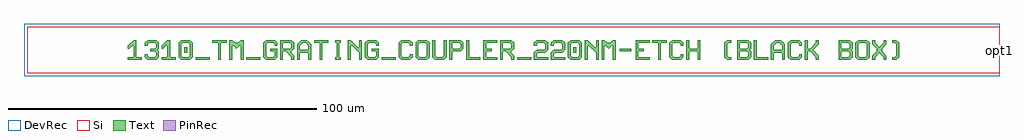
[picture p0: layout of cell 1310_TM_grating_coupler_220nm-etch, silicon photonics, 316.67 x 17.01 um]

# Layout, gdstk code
import gdstk
lib = gdstk.Library(unit=1e-6, precision=1e-09)
def R(c, l, rs):  # rectangles x0, y0, x1, y1
    for r in rs: c.add(gdstk.rectangle(r[:2], r[2:], *l))
def A(c, l, x, y, w, h, nx, ny, dx, dy):  # array of equal rectangles
    R(c, l, [(x+i*dx, y+j*dy, x+i*dx+w, y+j*dy+h) for i in range(nx) for j in range(ny)])
def P(c, l, *ps):  # polygons
    for p in ps: c.add(gdstk.Polygon(p, *l))
Si = (1, 0)
PinRec = (1, 10)
Text = (10, 0)
DevRec = (68, 0)

text = lib.new_cell('TEXT')
A(text, Text, 38.43, 0, 4.575, 0.915, 3, 1, 43.92, 0)
R(text, Text, [(21.96,0,26.535,0.915), (18.3,2.287,19.215,4.117), (144.57,2.287,145.485,4.117), (159.667,2.745,163.327,3.66)])
P(text, Text, [(0,0),(0,0.915),(1.83,0.915),(1.83,4.575),(1.372,4.575),(0.457,3.66),(0,3.66),(0,4.575),(1.83,6.405),(2.745,6.405),(2.745,0.915),(4.575,0.915),(4.575,0)],
  [(6.405,0),(5.49,0.915),(5.49,1.83),(6.405,1.83),(6.405,1.372),(6.862,0.915),(8.692,0.915),(9.15,1.372),(9.15,2.287),(8.692,2.745),(7.32,2.745),(7.32,3.66),(8.692,3.66),(9.15,4.117),(9.15,5.032),(8.692,5.49),(6.862,5.49),(6.405,5.032),(6.405,4.575),(5.49,4.575),(5.49,5.49),(6.405,6.405),(9.15,6.405),(10.065,5.49),(10.065,3.66),(9.607,3.202),(10.065,2.745),(10.065,0.915),(9.15,0)],
  [(10.98,0),(10.98,0.915),(12.81,0.915),(12.81,4.575),(12.352,4.575),(11.437,3.66),(10.98,3.66),(10.98,4.575),(12.81,6.405),(13.725,6.405),(13.725,0.915),(15.555,0.915),(15.555,0)],
  [(17.385,0),(16.47,0.915),(16.47,5.49),(17.385,6.405),(20.13,6.405),(21.045,5.49),(17.842,5.49),(17.385,5.032),(17.385,1.372),(17.842,0.915),(19.672,0.915),(20.13,1.372),(20.13,5.032),(19.672,5.49),(21.045,5.49),(21.045,0.915),(20.13,0)],
  [(29.28,0),(29.28,5.49),(27.45,5.49),(27.45,6.405),(32.025,6.405),(32.025,5.49),(30.195,5.49),(30.195,0)],
  [(32.94,0),(32.94,6.405),(33.855,6.405),(34.77,5.49),(35.685,5.49),(36.6,6.405),(37.515,6.405),(37.515,0),(36.6,0),(36.6,4.575),(36.142,4.575),(35.227,3.66),(34.312,4.575),(33.855,4.575),(33.855,0)],
  [(44.835,0),(43.92,0.915),(43.92,5.49),(44.835,6.405),(47.58,6.405),(48.495,5.49),(48.495,4.575),(47.58,4.575),(47.58,5.032),(47.122,5.49),(45.292,5.49),(44.835,5.032),(44.835,1.372),(45.292,0.915),(47.122,0.915),(47.58,1.372),(47.58,2.745),(46.207,2.745),(46.207,3.66),(48.495,3.66),(48.495,0.915),(47.58,0)],
  [(49.41,0),(49.41,6.405),(53.07,6.405),(53.985,5.49),(50.325,5.49),(50.325,3.66),(52.612,3.66),(53.07,4.117),(53.07,5.032),(52.612,5.49),(53.985,5.49),(53.985,3.66),(53.07,2.745),(53.07,2.287),(53.985,1.372),(53.985,0),(53.07,0),(53.07,0.915),(51.24,2.745),(50.325,2.745),(50.325,0)],
  [(54.9,0),(54.9,5.032),(56.272,6.405),(58.102,6.405),(59.017,5.49),(56.73,5.49),(55.815,4.575),(55.815,3.202),(58.56,3.202),(58.56,4.575),(57.645,5.49),(59.017,5.49),(59.475,5.032),(59.475,0),(58.56,0),(58.56,2.287),(55.815,2.287),(55.815,0)],
  [(62.22,0),(62.22,5.49),(60.39,5.49),(60.39,6.405),(64.965,6.405),(64.965,5.49),(63.135,5.49),(63.135,0)],
  [(67.252,0),(67.252,0.915),(67.71,0.915),(67.71,5.49),(67.252,5.49),(67.252,6.405),(69.082,6.405),(69.082,5.49),(68.625,5.49),(68.625,0.915),(69.082,0.915),(69.082,0)],
  [(71.37,0),(71.37,6.405),(72.285,6.405),(74.572,4.117),(75.03,4.117),(75.03,6.405),(75.945,6.405),(75.945,0),(75.03,0),(75.03,2.287),(72.742,4.575),(72.285,4.575),(72.285,0)],
  [(77.775,0),(76.86,0.915),(76.86,5.49),(77.775,6.405),(80.52,6.405),(81.435,5.49),(81.435,4.575),(80.52,4.575),(80.52,5.032),(80.062,5.49),(78.232,5.49),(77.775,5.032),(77.775,1.372),(78.232,0.915),(80.062,0.915),(80.52,1.372),(80.52,2.745),(79.147,2.745),(79.147,3.66),(81.435,3.66),(81.435,0.915),(80.52,0)],
  [(88.755,0),(87.84,0.915),(87.84,5.49),(88.755,6.405),(91.5,6.405),(92.415,5.49),(92.415,4.575),(91.5,4.575),(91.5,5.032),(91.042,5.49),(89.212,5.49),(88.755,5.032),(88.755,1.372),(89.212,0.915),(91.042,0.915),(91.5,1.372),(91.5,1.83),(92.415,1.83),(92.415,0.915),(91.5,0)],
  [(94.245,0),(93.33,0.915),(93.33,5.49),(94.245,6.405),(96.99,6.405),(97.905,5.49),(97.905,3.202),(96.99,3.202),(96.99,5.032),(96.532,5.49),(94.702,5.49),(94.245,5.032),(94.245,1.372),(94.702,0.915),(96.532,0.915),(96.99,1.372),(96.99,3.202),(97.905,3.202),(97.905,0.915),(96.99,0)],
  [(99.735,0),(98.82,0.915),(98.82,6.405),(99.735,6.405),(99.735,1.372),(100.192,0.915),(102.022,0.915),(102.48,1.372),(102.48,6.405),(103.395,6.405),(103.395,0.915),(102.48,0)],
  [(104.31,0),(104.31,6.405),(107.97,6.405),(108.885,5.49),(108.885,3.66),(107.97,2.745),(105.225,2.745),(105.225,3.66),(107.512,3.66),(107.97,4.117),(107.97,5.032),(107.512,5.49),(105.225,5.49),(105.225,0)],
  [(109.8,0),(109.8,6.405),(110.715,6.405),(110.715,0.915),(114.375,0.915),(114.375,0)],
  [(115.29,0),(115.29,6.405),(119.865,6.405),(119.865,5.49),(116.205,5.49),(116.205,3.66),(118.035,3.66),(118.035,2.745),(116.205,2.745),(116.205,0.915),(119.865,0.915),(119.865,0)],
  [(120.78,0),(120.78,6.405),(124.44,6.405),(125.355,5.49),(121.695,5.49),(121.695,3.66),(123.982,3.66),(124.44,4.117),(124.44,5.032),(123.982,5.49),(125.355,5.49),(125.355,3.66),(124.44,2.745),(124.44,2.287),(125.355,1.372),(125.355,0),(124.44,0),(124.44,0.915),(122.61,2.745),(121.695,2.745),(121.695,0)],
  [(131.76,0),(131.76,2.287),(132.675,3.202),(134.962,3.202),(135.42,3.66),(135.42,5.032),(134.962,5.49),(133.132,5.49),(132.675,5.032),(132.675,4.575),(131.76,4.575),(131.76,5.49),(132.675,6.405),(135.42,6.405),(136.335,5.49),(136.335,3.202),(135.42,2.287),(133.132,2.287),(132.675,1.83),(132.675,0.915),(136.335,0.915),(136.335,0)],
  [(137.25,0),(137.25,2.287),(138.165,3.202),(140.452,3.202),(140.91,3.66),(140.91,5.032),(140.452,5.49),(138.622,5.49),(138.165,5.032),(138.165,4.575),(137.25,4.575),(137.25,5.49),(138.165,6.405),(140.91,6.405),(141.825,5.49),(141.825,3.202),(140.91,2.287),(138.622,2.287),(138.165,1.83),(138.165,0.915),(141.825,0.915),(141.825,0)],
  [(143.655,0),(142.74,0.915),(142.74,5.49),(143.655,6.405),(146.4,6.405),(147.315,5.49),(144.112,5.49),(143.655,5.032),(143.655,1.372),(144.112,0.915),(145.942,0.915),(146.4,1.372),(146.4,5.032),(145.942,5.49),(147.315,5.49),(147.315,0.915),(146.4,0)],
  [(148.23,0),(148.23,6.405),(149.145,6.405),(151.432,4.117),(151.89,4.117),(151.89,6.405),(152.805,6.405),(152.805,0),(151.89,0),(151.89,2.287),(149.602,4.575),(149.145,4.575),(149.145,0)],
  [(153.72,0),(153.72,6.405),(154.635,6.405),(155.55,5.49),(156.465,5.49),(157.38,6.405),(158.295,6.405),(158.295,0),(157.38,0),(157.38,4.575),(156.922,4.575),(156.007,3.66),(155.092,4.575),(154.635,4.575),(154.635,0)],
  [(164.7,0),(164.7,6.405),(169.275,6.405),(169.275,5.49),(165.615,5.49),(165.615,3.66),(167.445,3.66),(167.445,2.745),(165.615,2.745),(165.615,0.915),(169.275,0.915),(169.275,0)],
  [(172.02,0),(172.02,5.49),(170.19,5.49),(170.19,6.405),(174.765,6.405),(174.765,5.49),(172.935,5.49),(172.935,0)],
  [(176.595,0),(175.68,0.915),(175.68,5.49),(176.595,6.405),(179.34,6.405),(180.255,5.49),(180.255,4.575),(179.34,4.575),(179.34,5.032),(178.882,5.49),(177.052,5.49),(176.595,5.032),(176.595,1.372),(177.052,0.915),(178.882,0.915),(179.34,1.372),(179.34,1.83),(180.255,1.83),(180.255,0.915),(179.34,0)],
  [(181.17,0),(181.17,6.405),(182.085,6.405),(182.085,3.66),(184.83,3.66),(184.83,6.405),(185.745,6.405),(185.745,0),(184.83,0),(184.83,2.745),(182.085,2.745),(182.085,0)],
  [(194.437,0),(193.522,0.915),(193.522,5.49),(194.437,6.405),(195.81,6.405),(195.81,5.49),(194.895,5.49),(194.437,5.032),(194.437,1.372),(194.895,0.915),(195.81,0.915),(195.81,0)],
  [(197.64,0),(197.64,6.405),(201.3,6.405),(202.215,5.49),(198.555,5.49),(198.555,3.66),(200.842,3.66),(201.3,4.117),(201.3,5.032),(200.842,5.49),(202.215,5.49),(202.215,3.66),(201.757,3.202),(202.215,2.745),(198.555,2.745),(198.555,0.915),(200.842,0.915),(201.3,1.372),(201.3,2.287),(200.842,2.745),(202.215,2.745),(202.215,0.915),(201.3,0)],
  [(203.13,0),(203.13,6.405),(204.045,6.405),(204.045,0.915),(207.705,0.915),(207.705,0)],
  [(208.62,0),(208.62,5.032),(209.992,6.405),(211.822,6.405),(212.737,5.49),(210.45,5.49),(209.535,4.575),(209.535,3.202),(212.28,3.202),(212.28,4.575),(211.365,5.49),(212.737,5.49),(213.195,5.032),(213.195,0),(212.28,0),(212.28,2.287),(209.535,2.287),(209.535,0)],
  [(215.025,0),(214.11,0.915),(214.11,5.49),(215.025,6.405),(217.77,6.405),(218.685,5.49),(218.685,4.575),(217.77,4.575),(217.77,5.032),(217.312,5.49),(215.482,5.49),(215.025,5.032),(215.025,1.372),(215.482,0.915),(217.312,0.915),(217.77,1.372),(217.77,1.83),(218.685,1.83),(218.685,0.915),(217.77,0)],
  [(219.6,0),(219.6,6.405),(220.515,6.405),(220.515,3.66),(221.43,3.66),(223.26,5.49),(223.26,6.405),(224.175,6.405),(224.175,5.032),(222.345,3.202),(224.175,1.372),(224.175,0),(223.26,0),(223.26,0.915),(221.43,2.745),(220.515,2.745),(220.515,0)],
  [(230.58,0),(230.58,6.405),(234.24,6.405),(235.155,5.49),(231.495,5.49),(231.495,3.66),(233.782,3.66),(234.24,4.117),(234.24,5.032),(233.782,5.49),(235.155,5.49),(235.155,3.66),(234.697,3.202),(235.155,2.745),(231.495,2.745),(231.495,0.915),(233.782,0.915),(234.24,1.372),(234.24,2.287),(233.782,2.745),(235.155,2.745),(235.155,0.915),(234.24,0)],
  [(236.985,0),(236.07,0.915),(236.07,5.49),(236.985,6.405),(239.73,6.405),(240.645,5.49),(240.645,3.202),(239.73,3.202),(239.73,5.032),(239.272,5.49),(237.442,5.49),(236.985,5.032),(236.985,1.372),(237.442,0.915),(239.272,0.915),(239.73,1.372),(239.73,3.202),(240.645,3.202),(240.645,0.915),(239.73,0)],
  [(241.56,0),(241.56,1.372),(242.932,2.745),(242.932,3.66),(241.56,5.032),(241.56,6.405),(242.475,6.405),(242.475,5.49),(243.847,4.117),(245.22,5.49),(245.22,6.405),(246.135,6.405),(246.135,5.032),(244.762,3.66),(244.762,2.745),(246.135,1.372),(246.135,0),(245.22,0),(245.22,0.915),(243.847,2.287),(242.475,0.915),(242.475,0)],
  [(247.965,0),(247.965,0.915),(248.88,0.915),(249.337,1.372),(249.337,5.032),(248.88,5.49),(247.965,5.49),(247.965,6.405),(249.337,6.405),(250.252,5.49),(250.252,0.915),(249.337,0)])

c_1310_tm_grating_coupler_ = lib.new_cell('1310_TM_grating_coupler_220nm-etch')
R(c_1310_tm_grating_coupler_, Si, [(-157.834,-7.502,157.834,7.502)])
R(c_1310_tm_grating_coupler_, DevRec, [(-158.834,-8.503,157.834,8.503)])
c_1310_tm_grating_coupler_.add(gdstk.FlexPath([(157.833,-0.002),(157.835,-0.002)], 0.35, ends="flush", simple_path=True, layer=1, datatype=10))  # PinRec
c_1310_tm_grating_coupler_.add(gdstk.Reference(text, (-125.126,-3.202)))
c_1310_tm_grating_coupler_.add(gdstk.Label('opt1', (157.834,-0.002), layer=1, texttype=10))

lib.write_gds('1310_TM_grating_coupler_220nm-etch.gds')
